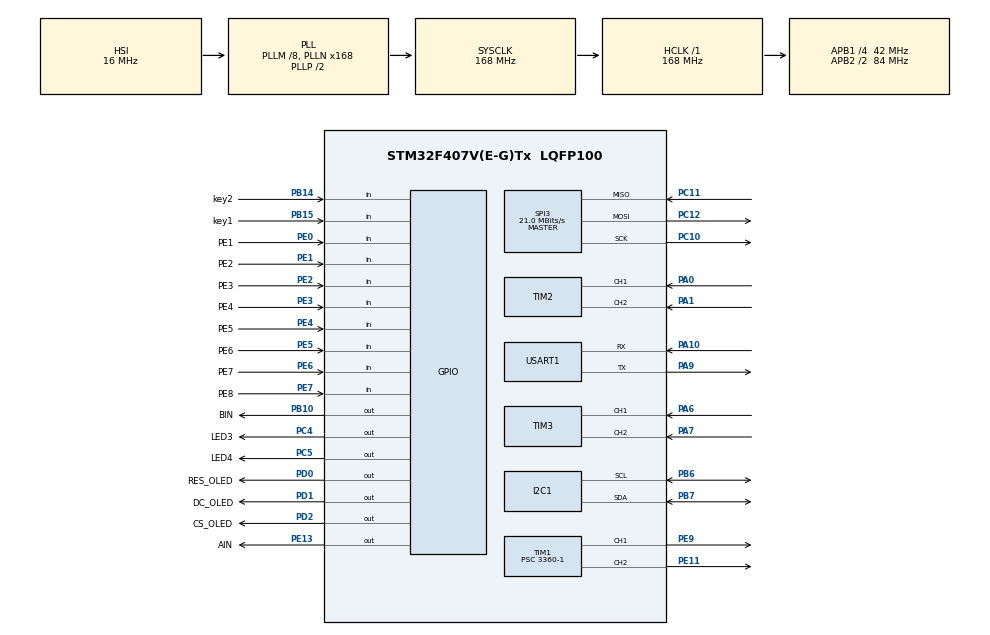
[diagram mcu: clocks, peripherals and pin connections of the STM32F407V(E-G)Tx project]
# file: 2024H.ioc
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Mcu.Family=STM32F4
Mcu.Name=STM32F407V(E-G)Tx
Mcu.Package=LQFP100
NVIC.PriorityGroup=NVIC_PRIORITYGROUP_4
NVIC.TIM4_IRQn=true\:0\:0\:false\:false\:true\:true\:true\:true
PA0-WKUP.Signal=S_TIM2_CH1_ETR
PA1.Signal=S_TIM2_CH2
PA10.Mode=Asynchronous
PA10.Signal=USART1_RX
PA13.Mode=Serial_Wire
PA13.Signal=SYS_JTMS-SWDIO
PA14.Mode=Serial_Wire
PA14.Signal=SYS_JTCK-SWCLK
PA6.Signal=S_TIM3_CH1
PA7.Signal=S_TIM3_CH2
PA9.Mode=Asynchronous
PA9.Signal=USART1_TX
PB10.GPIO_Label=BIN
PB10.Signal=GPIO_Output
PB14.GPIO_Label=key2
PB14.GPIO_PuPd=GPIO_PULLDOWN
PB14.Signal=GPIO_Input
PB15.GPIO_Label=key1
PB15.GPIO_PuPd=GPIO_PULLDOWN
PB15.Signal=GPIO_Input
PB6.Mode=I2C
PB6.Signal=I2C1_SCL
PB7.Mode=I2C
PB7.Signal=I2C1_SDA
PC10.Mode=Full_Duplex_Master
PC10.Signal=SPI3_SCK
PC11.Mode=Full_Duplex_Master
PC11.Signal=SPI3_MISO
PC12.Mode=Full_Duplex_Master
PC12.Signal=SPI3_MOSI
PC4.GPIO_Label=LED3
PC4.Signal=GPIO_Output
PC5.GPIO_Label=LED4
PC5.Signal=GPIO_Output
PD0.GPIO_Label=RES_OLED
PD0.Signal=GPIO_Output
PD1.GPIO_Label=DC_OLED
PD1.Signal=GPIO_Output
PD2.GPIO_Label=CS_OLED
PD2.Signal=GPIO_Output
PE0.GPIO_Label=PE1
PE0.Signal=GPIO_Input
PE1.GPIO_Label=PE2
PE1.Signal=GPIO_Input
PE11.Signal=S_TIM1_CH2
PE13.GPIO_Label=AIN
PE13.Signal=GPIO_Output
PE2.GPIO_Label=PE3
PE2.Signal=GPIO_Input
PE3.GPIO_Label=PE4
PE3.Signal=GPIO_Input
PE4.GPIO_Label=PE5
PE4.Signal=GPIO_Input
PE5.GPIO_Label=PE6
PE5.Signal=GPIO_Input
PE6.GPIO_Label=PE7
PE6.Signal=GPIO_Input
PE7.GPIO_Label=PE8
PE7.Signal=GPIO_Input
PE9.Signal=S_TIM1_CH1
PH0-OSC_IN.Mode=HSE-External-Oscillator
PH0-OSC_IN.Signal=RCC_OSC_IN
PH1-OSC_OUT.Mode=HSE-External-Oscillator
PH1-OSC_OUT.Signal=RCC_OSC_OUT
ProjectManager.HeapSize=0x200
ProjectManager.StackSize=0x400
ProjectManager.TargetToolchain=MDK-ARM V5.32
RCC.48MHZClocksFreq_Value=84000000
RCC.AHBFreq_Value=168000000
RCC.APB1CLKDivider=RCC_HCLK_DIV4
RCC.APB1Freq_Value=42000000
RCC.APB1TimFreq_Value=84000000
RCC.APB2CLKDivider=RCC_HCLK_DIV2
RCC.APB2Freq_Value=84000000
RCC.APB2TimFreq_Value=168000000
RCC.CortexFreq_Value=168000000
RCC.HCLKFreq_Value=168000000
RCC.HSE_VALUE=8000000
RCC.HSI_VALUE=16000000
RCC.LSE_VALUE=32768
RCC.PLLM=8
RCC.PLLN=168
RCC.SYSCLKFreq_VALUE=168000000
RCC.SYSCLKSource=RCC_SYSCLKSOURCE_PLLCLK
RCC.VCOOutputFreq_Value=336000000
SH.S_TIM1_CH1.0=TIM1_CH1,PWM Generation1 CH1
SH.S_TIM1_CH2.0=TIM1_CH2,PWM Generation2 CH2
SH.S_TIM2_CH1_ETR.0=TIM2_CH1,Encoder_Interface
SH.S_TIM2_CH2.0=TIM2_CH2,Encoder_Interface
SH.S_TIM3_CH1.0=TIM3_CH1,Encoder_Interface
SH.S_TIM3_CH2.0=TIM3_CH2,Encoder_Interface
SPI3.CalculateBaudRate=21.0 MBits/s
SPI3.Direction=SPI_DIRECTION_2LINES
SPI3.Mode=SPI_MODE_MASTER
SPI3.VirtualType=VM_MASTER
TIM1.Channel-PWM\ Generation1\ CH1=TIM_CHANNEL_1
TIM1.Channel-PWM\ Generation2\ CH2=TIM_CHANNEL_2
TIM1.Period=100 - 1
TIM1.Prescaler=3360-1
TIM4.Period=100-1
TIM4.Prescaler=3360-1
USART1.VirtualMode=VM_ASYNC
VP_TIM1_VS_ClockSourceINT.Mode=Internal
VP_TIM4_VS_ClockSourceINT.Mode=Internal
board=custom

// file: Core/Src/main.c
/* USER CODE BEGIN Header */
/**
  ******************************************************************************
  * @file           : main.c
  * @brief          : Main program body
  ******************************************************************************
  * @attention
  *
  * Copyright (c) 2026 STMicroelectronics.
  * All rights reserved.
  *
  * This software is licensed under terms that can be found in the LICENSE file
  * in the root directory of this software component.
  * If no LICENSE file comes with this software, it is provided AS-IS.
  *
  ******************************************************************************
  */
/* USER CODE END Header */
#include "main.h"
#include "i2c.h"
#include "spi.h"
#include "tim.h"
#include "usart.h"
#include "gpio.h"

/* USER CODE BEGIN Includes */
#include <stdio.h>
#include <string.h>
#include "PID_Node.h"
#include "oled.h"
#include "mpu6050.h"
#include "MadgwickAHRS.h"
#include "multikey.h"
#include <stdbool.h>
#include "Motor_AT4950.h"
#include "grayscale.h"
#include "Log.h"
#include "mpu6050_user.h"
#include "key_control.h"
#include "tasks.h"
//#include "static_queue.h"
#include <stdbool.h>
#include "control.h"
#include "Protothreads.h"
/* USER CODE END Includes */

/* USER CODE BEGIN PTD */
MulitKey_t key1;
MulitKey_t key2;
MotorAT4950 motor1;
MotorAT4950 motor2;

/* USER CODE END PTD */

/* USER CODE BEGIN PV */
MPU6050_Data_t* mpu = NULL;   // 全局指针，用于整个文件访问
/* USER CODE END PV */

void SystemClock_Config(void);

/* USER CODE BEGIN 0 */
// 电机驱动底层函数实现（放在 main 函数外）
void SetMotor1PWM(uint16_t ccr) {
    __HAL_TIM_SetCompare(&htim1, TIM_CHANNEL_1, ccr);
}
void SetMotor2PWM(uint16_t ccr) {
    __HAL_TIM_SetCompare(&htim1, TIM_CHANNEL_2, ccr);
}
void SetMotor1IN1(uint8_t level) {
    HAL_GPIO_WritePin(AIN_GPIO_Port, AIN_Pin, (GPIO_PinState)level);
}
void SetMotor2IN1(uint8_t level) {
    HAL_GPIO_WritePin(BIN_GPIO_Port, BIN_Pin, (GPIO_PinState)level);
}
/* USER CODE END 0 */

int main(void)
{

  /* MCU Configuration--------------------------------------------------------*/

  /* Reset of all peripherals, Initializes the Flash interface and the Systick. */
  HAL_Init();

  /* Configure the system clock */
  SystemClock_Config();

  /* Initialize all configured peripherals */
  MX_GPIO_Init();
  MX_I2C1_Init();
  MX_SPI3_Init();
  MX_TIM1_Init();
  MX_TIM2_Init();
  MX_TIM3_Init();
  MX_TIM4_Init();
  MX_USART1_UART_Init();
  /* USER CODE BEGIN 2 */
  OLED_Init();
  OLED_Clear();
  OLED_ShowString(0, 0, "Calibrating...", 16, 1);
  OLED_ShowString(0, 16, "Keep Still!", 16, 1);
  OLED_Refresh();   // 立即刷新，否则可能不显示
	// 初始化电机
  MotorInit_AT46950(&motor1, SetMotor1PWM, SetMotor1IN1, 100); // ARR = 999
  MotorInit_AT46950(&motor2, SetMotor2PWM, SetMotor2IN1, 100);
  SetDefaultDirection(&motor1, High_Level);
  SetDefaultDirection(&motor2, High_Level);
    SetMotor1IN1(0);
  SetMotor2IN1(0);
  SetMotor1PWM(0);
  SetMotor2PWM(0);

	// 启动 PWM 输出
  HAL_TIM_PWM_Start(&htim1, TIM_CHANNEL_1);
  HAL_TIM_PWM_Start(&htim1, TIM_CHANNEL_2);

	// 启动编码器模式
  HAL_TIM_Encoder_Start(&htim2, TIM_CHANNEL_ALL);
  HAL_TIM_Encoder_Start(&htim3, TIM_CHANNEL_ALL);

	// 启动 TIM4 中断（周期已在 MX_TIM4_Init 中配置为 10ms）
  Control_Init();
  MPU6050_Calibrate(200);
  KeyControl_Init();
  Tasks_Init();
  mpu = MPU6050_GetHandle();   // 获取句柄
  HAL_TIM_Base_Start_IT(&htim4);
//	OLED_ShowString(0, 0, "test", 16, 1);
//Motor_setSpeed(&motor1, 400);
//Motor_setSpeed(&motor2, 400);

  /* USER CODE END 2 */

  /* Infinite loop */
  /* USER CODE BEGIN WHILE */
  while (1)
  {
	  KeyControl_Scan();   // 扫描按键
	  // 获取显示模式
    // uint8_t mode = KeyControl_GetDisplayMode();
	  task1(&task1_pt);
	  task2(&task2_pt);
	  SerialTask(&SerialTask_pt);
	  OLED_Task(&oled_pt);
    /* USER CODE END WHILE */

  }
}

void SystemClock_Config(void)
{
  RCC_OscInitTypeDef RCC_OscInitStruct = {0};
  RCC_ClkInitTypeDef RCC_ClkInitStruct = {0};

  /** Configure the main internal regulator output voltage
  */
  __HAL_RCC_PWR_CLK_ENABLE();
  __HAL_PWR_VOLTAGESCALING_CONFIG(PWR_REGULATOR_VOLTAGE_SCALE1);

  /** Initializes the RCC Oscillators according to the specified parameters
  * in the RCC_OscInitTypeDef structure.
  */
  RCC_OscInitStruct.OscillatorType = RCC_OSCILLATORTYPE_HSI;
  RCC_OscInitStruct.HSIState = RCC_HSI_ON;
  RCC_OscInitStruct.HSICalibrationValue = RCC_HSICALIBRATION_DEFAULT;
  RCC_OscInitStruct.PLL.PLLState = RCC_PLL_ON;
  RCC_OscInitStruct.PLL.PLLSource = RCC_PLLSOURCE_HSI;
  RCC_OscInitStruct.PLL.PLLM = 8;
  RCC_OscInitStruct.PLL.PLLN = 168;
  RCC_OscInitStruct.PLL.PLLP = RCC_PLLP_DIV2;
  RCC_OscInitStruct.PLL.PLLQ = 4;
  if (HAL_RCC_OscConfig(&RCC_OscInitStruct) != HAL_OK)
  {
    Error_Handler();
  }

  /** Initializes the CPU, AHB and APB buses clocks
  */
  RCC_ClkInitStruct.ClockType = RCC_CLOCKTYPE_HCLK|RCC_CLOCKTYPE_SYSCLK
                              |RCC_CLOCKTYPE_PCLK1|RCC_CLOCKTYPE_PCLK2;
  RCC_ClkInitStruct.SYSCLKSource = RCC_SYSCLKSOURCE_PLLCLK;
  RCC_ClkInitStruct.AHBCLKDivider = RCC_SYSCLK_DIV1;
  RCC_ClkInitStruct.APB1CLKDivider = RCC_HCLK_DIV4;
  RCC_ClkInitStruct.APB2CLKDivider = RCC_HCLK_DIV2;

  if (HAL_RCC_ClockConfig(&RCC_ClkInitStruct, FLASH_LATENCY_5) != HAL_OK)
  {
    Error_Handler();
  }
}

/* USER CODE BEGIN 4 */
void HAL_TIM_PeriodElapsedCallback(TIM_HandleTypeDef *htim)
{
    if (htim->Instance == TIM4)
    {
		static uint8_t cnt = 0;
		cnt++;
        static uint32_t last_tick = 0;
        float dt = 4;
//        uint32_t now = HAL_GetTick();
//		if (now - last_tick > 1000)
//        {
//          printf("1000 ms elapsed\n");
//        }
//        float dt = (now - last_tick) / 1000.0f;
//        last_tick = now;
        // 读取 MPU6050 原始数据（已封装在 MPU6050_Update 中）
        MPU6050_Update();   // 该函数会读原始值、校准、转换并更新欧拉角

        // 读取灰度传感器并计算误差
        gray_byte = GPIOE->IDR & 0xFF;
        gray_error = CalculateGrayError_Advanced(gray_byte);
        // 读取编码器差值（注意：编码器计数器可能为负数，需根据实际接线调整符号）
        static int32_t last_A = 0,last_B = 0;
//		printf("diffA:%u,diffB:%u\n",diff_A,diff_B);
		if (cnt % 5 == 0)
		{
			int32_t current_A = (int16_t)__HAL_TIM_GET_COUNTER(&htim2);
			int32_t current_B = (int32_t)(int16_t)__HAL_TIM_GET_COUNTER(&htim3);
		    int32_t diff_A = current_A - last_A;
		    int32_t diff_B = current_B - last_B;
		    last_A = current_A;
		    last_B = current_B;
			Control_UpdateSpeedFeedback(diff_A, diff_B, 20);
			// Control_UpdateSpeedFeedback(current_A, current_B, 20);
		}

        // 执行控制
        Control_Update(dt);
//		printf("target_A=%.2f,target_B=%.2f",target_A,target_B);
//		printf("diff_A=%ld, speed=%.3f\n", diff_A, Actual_Speed_A);
        // 定期清零编码器（防止溢出）
        if (cnt >= 20) {
            __HAL_TIM_SetCounter(&htim2, 0);
            __HAL_TIM_SetCounter(&htim3, 0);
            last_A = 0;
            last_B = 0;
            cnt = 0;
        }
    }
}
/* USER CODE END 4 */

void Error_Handler(void)
{
  __disable_irq();
  while (1)
  {
  }
}
